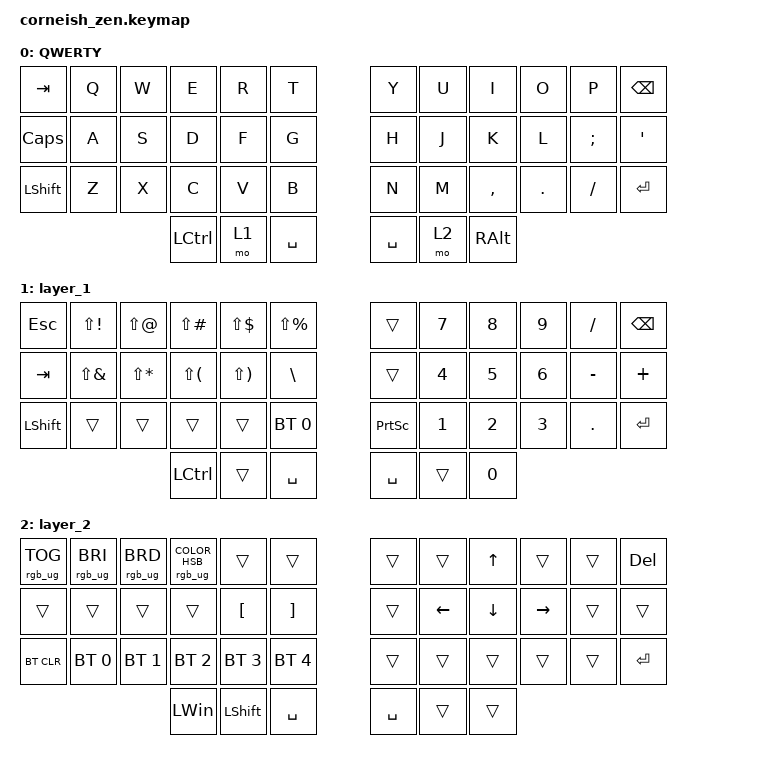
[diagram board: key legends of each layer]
/*
*
* Copyright (c) 2021 Darryl deHaan
* SPDX-License-Identifier: MIT
*
*/

#include <behaviors.dtsi>
#include <dt-bindings/zmk/bt.h>
#include <dt-bindings/zmk/keys.h>
#include <dt-bindings/zmk/rgb.h>

/ {
    chosen {
        zmk,physical-layout = &foostan_corne_6col_layout;

        // zmk,physical-layout = &foostan_corne_5col_layout;
    };
};

/ {
    keymap {
        compatible = "zmk,keymap";

        default_layer {
            display-name = "QWERTY";

            // --------------------------------------------------------------------------------
            // |  TAB |  Q  |  W  |  E  |  R  |  T  |   |  Y  |  U   |  I  |  O  |  P  | BSPC |
            // | CTRL |  A  |  S  |  D  |  F  |  G  |   |  H  |  J   |  K  |  L  |  ;  |  '   |
            // | SHFT |  Z  |  X  |  C  |  V  |  B  |   |  N  |  M   |  ,  |  .  |  /  | ESC  |
            //                    | GUI | LWR | SPC |   | ENT | RSE  | ALT |

            bindings = <
&kp TAB       &kp Q  &kp W  &kp E             &kp R  &kp T        &kp Y      &kp U  &kp I      &kp O    &kp P     &kp BSPC
&kp CAPSLOCK  &kp A  &kp S  &kp D             &kp F  &kp G        &kp H      &kp J  &kp K      &kp L    &kp SEMI  &kp SQT
&kp LSHFT     &kp Z  &kp X  &kp C             &kp V  &kp B        &kp N      &kp M  &kp COMMA  &kp DOT  &kp FSLH  &kp ENTER
                            &kp LEFT_CONTROL  &mo 1  &kp SPACE    &kp SPACE  &mo 2  &kp RALT
            >;
        };

        layer_1 {
            bindings = <
&kp ESC    &kp LS(EXCL)  &kp LS(AT)    &kp LS(POUND)  &kp LS(DLLR)  &kp LS(PRCNT)    &trans           &kp N7  &kp N8  &kp N9  &kp FSLH   &kp BSPC
&kp TAB    &kp LS(AMPS)  &kp LS(STAR)  &kp LS(LPAR)   &kp LS(RPAR)  &kp BSLH         &trans           &kp N4  &kp N5  &kp N6  &kp MINUS  &kp PLUS
&kp LSHFT  &trans        &trans        &trans         &trans        &bt BT_SEL 0     &kp PRINTSCREEN  &kp N1  &kp N2  &kp N3  &kp DOT    &kp ENTER
                                       &kp LCTRL      &trans        &kp SPACE        &kp SPACE        &trans  &kp N0
            >;
        };

        layer_2 {
            bindings = <
&rgb_ug RGB_TOG  &rgb_ug RGB_BRI  &rgb_ug RGB_BRD  &rgb_ug RGB_COLOR_HSB(298,53,54)  &trans            &trans               &trans     &trans          &kp UP_ARROW    &trans     &trans  &kp DEL
&trans           &trans           &trans           &trans                            &kp LEFT_BRACKET  &kp RIGHT_BRACKET    &trans     &kp LEFT_ARROW  &kp DOWN_ARROW  &kp RIGHT  &trans  &trans
&bt BT_CLR       &bt BT_SEL 0     &bt BT_SEL 1     &bt BT_SEL 2                      &bt BT_SEL 3      &bt BT_SEL 4         &trans     &trans          &trans          &trans     &trans  &kp ENTER
                                                   &kp LEFT_WIN                      &kp LEFT_SHIFT    &kp SPACE            &kp SPACE  &trans          &trans
            >;
        };
    };
};
